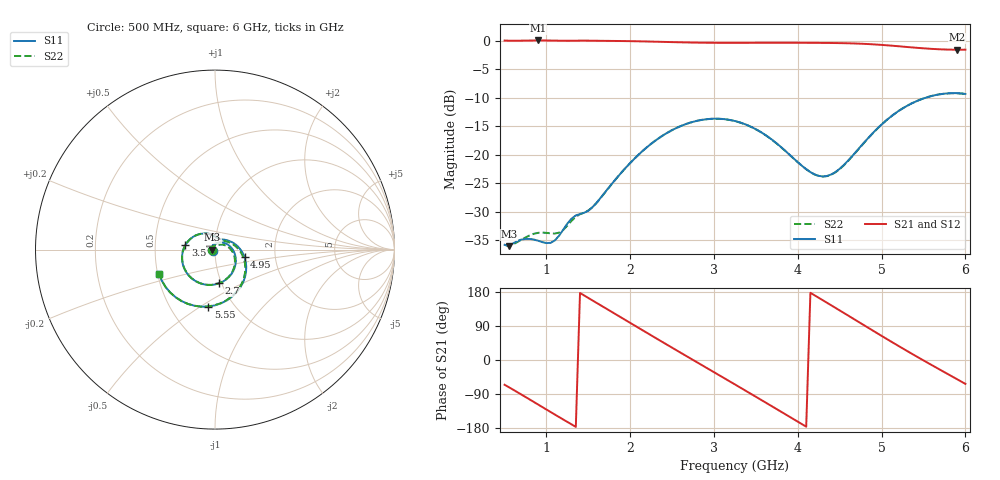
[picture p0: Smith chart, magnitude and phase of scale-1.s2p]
! Touchstone file from project sampleWidthScale-1
! Exported from HFSS-IE 2014.0.2
! Variables:
!  $perm = 6
!  impedance = 157.9ohm
!  insulationThickness = 0in
!  length = 4in
!  portSize = 1mm
!  sampleSide = 0.125in
!  sampleThickness = 0.25in
!  scale = 1
!  spacing = 0.25in
!  wireDiam = 0.125in
!  wireRadius = 0.0625in
# GHZ S MA R 157.900000
! Terminal data exported
! Port[1] = Rectangle2_T1
! Port[2] = Rectangle2_T2
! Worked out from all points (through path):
!   111 points, 500 MHz to 6 GHz, reference 157.9 ohm
!   highest |S21| = 0.01 dB at 900 MHz (marker M1); lowest = -1.6 dB at 5.9 GHz (marker M2)
!   group delay of S21, straight-line fit = 364 ps
!   lowest |S11| = -36.1 dB at 550 MHz (marker M3), VSWR 1.03, Z = 153 - j0.137 ohm
!   |S11| at or under -10 dB: start of sweep to 5.532 GHz
!   |S22| runs from -36.0 to -9.2 dB; largest |S21 - S12| = 4e-14
!   S11 on the Smith chart (normalised r, x): 500 MHz: 0.97, -0.02; 2.7 GHz: 0.98, -0.38; 3.5 GHz: 0.72, +0.04; 4.95 GHz: 1.39, -0.12; 5.55 GHz: 0.76, -0.54; 6 GHz: 0.51, -0.16
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0.5  0.01621 -149.2  0.9994 -65.4  0.9994 -65.4  0.01619 -162.5
0.55  0.01575 -178.4  0.9959 -71.7  0.9959 -71.7  0.01579 173.4
0.9  0.01758 135.8  1.001 -117.5  1.001 -117.5  0.02061 122.0
1.2  0.02201 132.8  0.9953 -157.0  0.9953 -157.0  0.02187 92.9
1.45  0.03092 89.8  0.9978 170.3  0.9978 170.3  0.03106 58.4
1.7  0.04687 57.7  0.993 137.3  0.993 137.3  0.04668 36.9
1.95  0.0773 20.6  0.9882 104.4  0.9882 104.4  0.07726 9.2
2.15  0.1081 -8.1  0.9821 78.1  0.9821 78.1  0.1081 -14.7
2.35  0.1409 -35.8  0.9743 51.9  0.9743 51.9  0.1409 -39.4
2.7  0.1891 -82.8  0.9608 6.5  0.9608 6.5  0.1891 -83.7
2.95  0.2055 -116.0  0.955 -25.8  0.955 -25.8  0.2054 -115.9
3.25  0.1968 -155.9  0.9534 -64.6  0.9534 -64.6  0.1966 -155.3
3.5  0.1668 170.6  0.9544 -97.2  0.9544 -97.2  0.1664 171.1
3.9  0.09998 117.7  0.9549 -149.6  0.9549 -149.6  0.09979 116.1
4.2  0.06701 81.6  0.9535 170.7  0.9535 170.7  0.06697 75.6
4.6  0.0886 34.7  0.9455 117.3  0.9455 117.3  0.08791 27.6
4.95  0.1696 -14.2  0.9206 70.3  0.9206 70.3  0.1692 -17.9
5.1  0.2124 -35.5  0.9035 50.4  0.9035 50.4  0.2123 -38.1
5.3  0.2667 -63.2  0.8779 24.3  0.8779 24.3  0.2668 -64.7
5.55  0.3193 -96.7  0.8492 -7.4  0.8492 -7.4  0.3194 -97.4
5.9  0.3454 -143.0  0.8305 -50.6  0.8305 -50.6  0.345 -142.8
6  0.3402 -156.3  0.8313 -63.0  0.8313 -63.0  0.3396 -155.9
